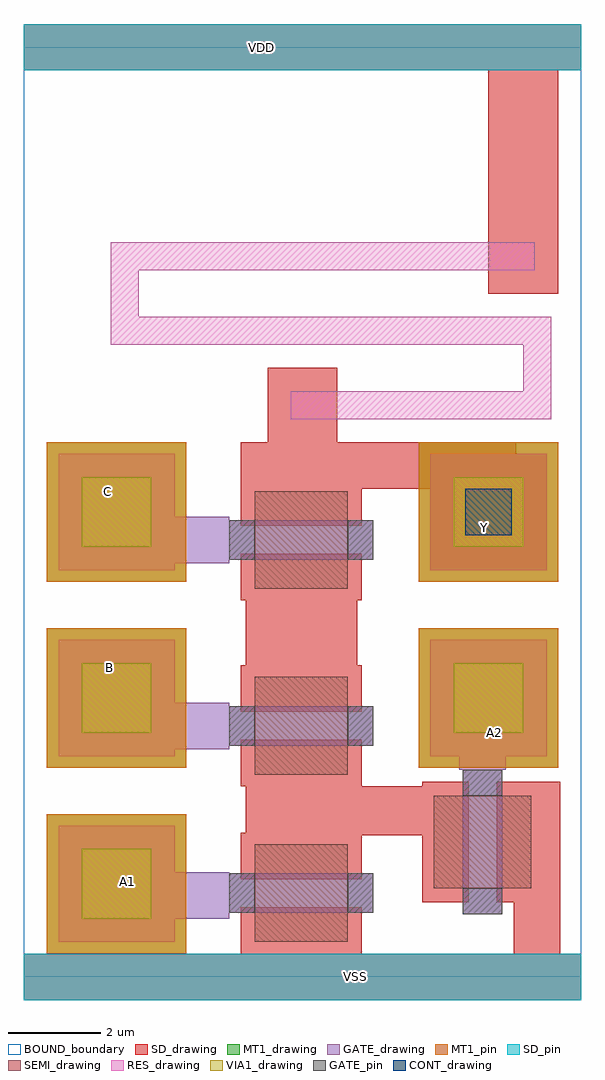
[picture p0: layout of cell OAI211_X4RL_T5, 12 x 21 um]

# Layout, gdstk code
from math import pi, radians
import gdstk
lib = gdstk.Library(unit=1e-6, precision=1e-09)
def R(c, l, rs):  # rectangles x0, y0, x1, y1
    for r in rs: c.add(gdstk.rectangle(r[:2], r[2:], *l))
def A(c, l, x, y, w, h, nx, ny, dx, dy):  # array of equal rectangles
    R(c, l, [(x+i*dx, y+j*dy, x+i*dx+w, y+j*dy+h) for i in range(nx) for j in range(ny)])
def P(c, l, *ps):  # polygons
    for p in ps: c.add(gdstk.Polygon(p, *l))
RES_drawing = (1, 0)
SEMI_drawing = (3, 0)
SD_drawing = (10, 0)
SD_pin = (10, 3)
GATE_drawing = (11, 0)
GATE_pin = (11, 3)
MT1_drawing = (20, 0)
MT1_pin = (20, 3)
CONT_drawing = (30, 0)
VIA1_drawing = (41, 0)
BOUND_boundary = (150, 5)

nch_cdns_772545094050 = lib.new_cell('nch_CDNS_772545094050')
R(nch_cdns_772545094050, SEMI_drawing, [(-1.05,-1,1.05,1)])
R(nch_cdns_772545094050, SD_drawing, [(-1.3,-1.3,-0.3,1.3), (0.3,-1.3,1.3,1.3)])
R(nch_cdns_772545094050, GATE_drawing, [(-0.425,-1.55,0.425,1.55)])
R(nch_cdns_772545094050, GATE_pin, [(-0.425,-1.55,0.425,-1), (-0.425,1,0.425,1.55)])

sd_gate_cdns_77254509405 = lib.new_cell('SD_GATE_CDNS_772545094050')
R(sd_gate_cdns_77254509405, SD_drawing, [(-1.25,-1.25,1.25,1.25)])
R(sd_gate_cdns_77254509405, GATE_drawing, [(-1.25,-1.25,1.25,1.25)])
R(sd_gate_cdns_77254509405, CONT_drawing, [(-0.5,-0.5,0.5,0.5)])

gate_mt1_cdns_7725450940 = lib.new_cell('GATE_MT1_CDNS_772545094051')
R(gate_mt1_cdns_7725450940, GATE_drawing, [(-1.25,-1.25,1.25,1.25)])
R(gate_mt1_cdns_7725450940, MT1_drawing, [(-1.25,-1.25,1.25,1.25)])
R(gate_mt1_cdns_7725450940, VIA1_drawing, [(-0.75,-0.75,0.75,0.75)])

oai211_x4rl_t5 = lib.new_cell('OAI211_X4RL_T5')
R(oai211_x4rl_t5, SD_drawing, [(0,-0.5,12,0.5), (10.55,0.5,11.55,4.2), (4.775,3.05,8.575,4.1), (4.675,10.5,10.6,11.5), (5.25,11.5,6.75,13.1), (10,14.7,11.5,16.3), (0,19.5,12,20.5)])
R(oai211_x4rl_t5, SD_pin, [(0,-0.5,12,0.5), (0,19.5,12,20.5)])
P(oai211_x4rl_t5, GATE_drawing, [(4.325,9.9),(4.325,8.9),(4.425,8.9),(4.425,9.025),(4.475,9.025),(4.475,9.775),(4.425,9.775),(4.425,9.9)],
  [(10.375,4.55),(9.375,4.55),(9.375,4.45),(9.5,4.45),(9.5,4.4),(10.25,4.4),(10.25,4.45),(10.375,4.45)],
  [(4.325,5.9),(4.325,4.9),(4.425,4.9),(4.425,5.025),(4.475,5.025),(4.475,5.775),(4.425,5.775),(4.425,5.9)],
  [(4.325,2.25),(4.325,1.25),(4.425,1.25),(4.425,1.425),(4.475,1.425),(4.475,2.175),(4.425,2.175),(4.425,2.25)])
A(oai211_x4rl_t5, MT1_drawing, 0.5, 0.5, 3, 3, 1, 3, 0, 4)
R(oai211_x4rl_t5, MT1_drawing, [(8.5,4.5,11.5,7.5), (8.5,8.5,11.5,11.5)])
A(oai211_x4rl_t5, MT1_pin, 0.5, 0.5, 3, 3, 1, 3, 0, 4)
R(oai211_x4rl_t5, MT1_pin, [(8.5,4.5,11.5,7.5), (8.5,8.5,11.5,11.5)])
R(oai211_x4rl_t5, BOUND_boundary, [(0,0,12,20)])
oai211_x4rl_t5.add(gdstk.FlexPath([(5.475,3.1),(5.475,4.1)], 1.4, ends="flush", simple_path=True, layer=10, datatype=0))  # SD_drawing
oai211_x4rl_t5.add(gdstk.FlexPath([(5.975,6.7),(5.975,8.1)], 2.4, ends="flush", simple_path=True, layer=10, datatype=0))  # SD_drawing
oai211_x4rl_t5.add(gdstk.FlexPath([(10.75,16.3),(10.75,19.5)], 1.5, ends="flush", simple_path=True, layer=10, datatype=0))  # SD_drawing
oai211_x4rl_t5.add(gdstk.FlexPath([(9.875,4.55),(9.875,4.8)], 1, ends="flush", simple_path=True, layer=11, datatype=0))  # GATE_drawing
oai211_x4rl_t5.add(gdstk.FlexPath([(4.325,9.4),(3.2,9.4)], 1, ends="flush", simple_path=True, layer=11, datatype=0))  # GATE_drawing
oai211_x4rl_t5.add(gdstk.FlexPath([(4.325,5.4),(3.2,5.4)], 1, ends="flush", simple_path=True, layer=11, datatype=0))  # GATE_drawing
oai211_x4rl_t5.add(gdstk.FlexPath([(4.325,1.75),(3.2,1.75)], 1, ends="flush", simple_path=True, layer=11, datatype=0))  # GATE_drawing
oai211_x4rl_t5.add(gdstk.FlexPath([(6.75,12.3),(11.05,12.3),(11.05,13.9),(2.175,13.9),(2.175,15.5),(10,15.5)], 0.6, ends=(1, 1), simple_path=True, layer=1, datatype=0))  # RES_drawing
oai211_x4rl_t5.add(gdstk.Reference(nch_cdns_772545094050, (9.875,2.9), rotation=pi))
oai211_x4rl_t5.add(gdstk.Reference(nch_cdns_772545094050, (5.975,1.8), rotation=pi/2))
oai211_x4rl_t5.add(gdstk.Reference(nch_cdns_772545094050, (5.975,5.4), rotation=pi/2))
oai211_x4rl_t5.add(gdstk.Reference(nch_cdns_772545094050, (5.975,9.4), rotation=pi/2))
oai211_x4rl_t5.add(gdstk.Reference(sd_gate_cdns_77254509405, (10,10)))
oai211_x4rl_t5.add(gdstk.Reference(gate_mt1_cdns_7725450940, (10,10)))
oai211_x4rl_t5.add(gdstk.Reference(gate_mt1_cdns_7725450940, (10,6)))
oai211_x4rl_t5.add(gdstk.Reference(gate_mt1_cdns_7725450940, (2,10)))
oai211_x4rl_t5.add(gdstk.Reference(gate_mt1_cdns_7725450940, (2,2)))
oai211_x4rl_t5.add(gdstk.Reference(gate_mt1_cdns_7725450940, (2,6)))
oai211_x4rl_t5.add(gdstk.Label('VDD', (5.125,20), layer=10, texttype=3))
oai211_x4rl_t5.add(gdstk.Label('VSS', (7.15,0), layer=10, texttype=3))
oai211_x4rl_t5.add(gdstk.Label('A2', (10.125,5.25), layer=20, texttype=3))
oai211_x4rl_t5.add(gdstk.Label('Y', (9.925,9.675), layer=20, texttype=3))
oai211_x4rl_t5.add(gdstk.Label('C', (1.8,10.45), layer=20, texttype=3))
oai211_x4rl_t5.add(gdstk.Label('B', (1.85,6.65), layer=20, texttype=3))
oai211_x4rl_t5.add(gdstk.Label('A1', (2.225,2.05), layer=20, texttype=3))

lib.write_gds('OAI211_X4RL_T5.gds')
